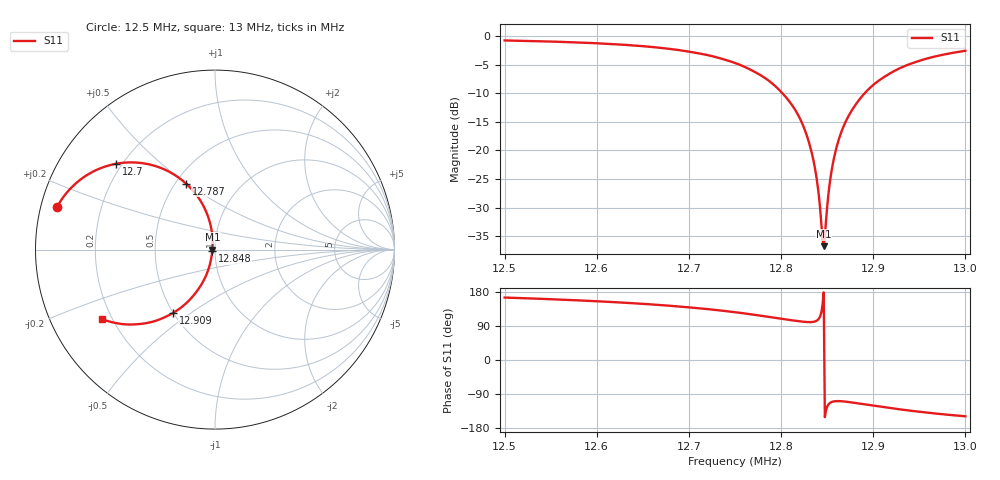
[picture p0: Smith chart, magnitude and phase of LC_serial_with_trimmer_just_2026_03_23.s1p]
# HZ S RI R 50
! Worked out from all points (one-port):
!   401 points, 12.5 MHz to 13 MHz, reference 50 ohm
!   lowest |S11| = -36.7 dB at 12.846 MHz (marker M1), VSWR 1.03, Z = 48.6 + j0.0395 ohm
!   |S11| at or under -10 dB: 12.801 MHz to 12.891 MHz (89.43 kHz wide, 0.696 % of centre)
!   S11 on the Smith chart (normalised r, x): 12.5 MHz: 0.05, +0.13; 12.7 MHz: 0.18, +0.36; 12.787 MHz: 0.57, +0.50; 12.848 MHz: 0.97, -0.02; 12.909 MHz: 0.50, -0.43; 13 MHz: 0.16, -0.27
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1.25e7  -0.88 0.2391
1.25625e7  -0.8282 0.3144
1.2625e7  -0.7414 0.3962
1.26875e7  -0.5909 0.4691
1.27e7  -0.5491 0.4788
1.275e7  -0.3423 0.4685
1.27875e7  -0.161 0.3675
1.280125e7  -0.1002 0.3006
1.28125e7  -0.0613 0.2369
1.282375e7  -0.0318 0.1628
1.28325e7  -0.0175 0.0994
1.28375e7  -0.0138 0.0632
1.284e7  -0.0131 0.0452
1.284375e7  -0.0135 0.0182
1.2845e7  -0.0139 0.00933
1.284625e7  -0.0146 0.000406
1.28475e7  -0.0154 -0.00863
1.284875e7  -0.0164 -0.0178
1.28525e7  -0.0204 -0.0451
1.2855e7  -0.0241 -0.0635
1.28575e7  -0.0283 -0.0817
1.2865e7  -0.0457 -0.1347
1.2875e7  -0.0774 -0.1973
1.289125e7  -0.1455 -0.2842
1.290875e7  -0.2321 -0.3519
1.29375e7  -0.3804 -0.4092
1.2965e7  -0.5061 -0.416
1.3e7  -0.6321 -0.3866
